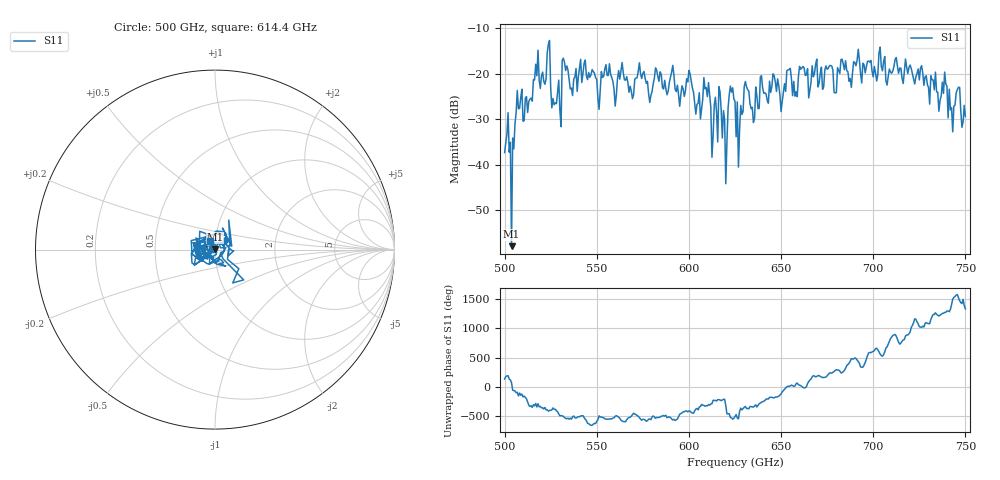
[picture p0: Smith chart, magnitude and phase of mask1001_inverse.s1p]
!Created with skrf (http://scikit-rf.org).
# GHz S MA R 50.0
!freq magS11 angS11
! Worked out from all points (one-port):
!   401 points, 500 GHz to 750 GHz, reference 50 ohm
!   lowest |S11| = -58.0 dB at 503.8 GHz (marker M1), VSWR 1.00, Z = 50 + j0.119 ohm
!   |S11| at or under -10 dB: start of sweep to end of sweep
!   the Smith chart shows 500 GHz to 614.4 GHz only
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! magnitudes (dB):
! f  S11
! 500 GHz  -37.4
! 501.9 GHz  -28.6
! 503.8 GHz  -58.0
! 508.1 GHz  -27.6
! 513.8 GHz  -25.6
! 516.9 GHz  -17.9
! 523.8 GHz  -13.5
! 526.9 GHz  -26.8
! 531.2 GHz  -17.0
! 532.5 GHz  -17.5
! 550.6 GHz  -25.4
! 562.5 GHz  -21.2
! 593.8 GHz  -22.5
! 605 GHz  -26.5
! 609.4 GHz  -23.0
! 612.5 GHz  -38.4
! 617.5 GHz  -27.9
! 619.4 GHz  -30.1
! 622.5 GHz  -22.7
! 625 GHz  -26.1
! 626.9 GHz  -40.5
! 631.2 GHz  -22.8
! 634.4 GHz  -27.4
! 640 GHz  -23.2
! 656.2 GHz  -24.8
! 687.5 GHz  -21.0
! 718.8 GHz  -20.0
! 750 GHz  -29.4
